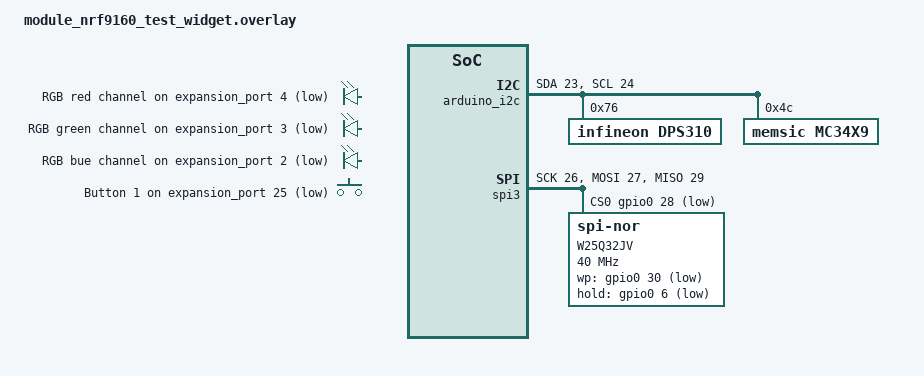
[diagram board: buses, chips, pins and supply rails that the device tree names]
/ {
    leds {
        compatible = "gpio-leds";
        red_led: led_1 {
            gpios = <&expansion_port 4 GPIO_ACTIVE_LOW>;
            label = "RGB red channel";
        };
        green_led: led_2 {
            gpios = <&expansion_port 3 GPIO_ACTIVE_LOW>;
            label = "RGB green channel";
        };
        blue_led: led_3 {
            gpios = <&expansion_port 2 GPIO_ACTIVE_LOW>;
            label = "RGB bue channel";
        };
    };

    buttons {
        compatible = "gpio-keys";
        button0: button_0 {
            gpios = <&expansion_port 25 (GPIO_ACTIVE_LOW | GPIO_PULL_UP)>;
            label = "Button 1";
        };
    };

    /** @TODO: Add Piezo Beeper */
    /** @TODO: Add Serial Flash */
    
    aliases {
		sw0 = &button0;
		led0 = &blue_led;
		led1 = &green_led;
		led2 = &blue_led;
    };
};

&arduino_i2c {
    compatible = "nordic,nrf-twim";
    status = "okay";
    sda-pin = <23>;
    scl-pin = <24>;

    tph: DPS310@76 {
		compatible = "infineon,dps310";
		label = "DPS310";
		reg = <0x76>;
	};

    /** @FIXME: Add LTR329 */

	accelerometer: mc34x9@4c {
		compatible = "memsic,mc34x9";
		label = "MC34X9";
		reg = <0x4c>;
	};
};

&spi3 {
	compatible = "nordic,nrf-spim";
	status = "okay";
	sck-pin = < 26 >;
	mosi-pin = < 27 >;
	miso-pin = < 29 >;
	cs-gpios = < &gpio0 28 GPIO_ACTIVE_LOW >;
	w25q32jv: w25q32jv@0 {
		compatible = "jedec,spi-nor";
		label = "W25Q32JV";
		reg = < 0 >;
		spi-max-frequency = < 40000000 >;
		wp-gpios = < &gpio0 30 GPIO_ACTIVE_LOW >;
		hold-gpios = < &gpio0 6 GPIO_ACTIVE_LOW >;
		size = < 0x2000000 >;
		has-dpd;
		t-enter-dpd = < 3000 >;
		t-exit-dpd = < 30000 >;
		jedec-id = [ ef 40 16  ];
	};
};
